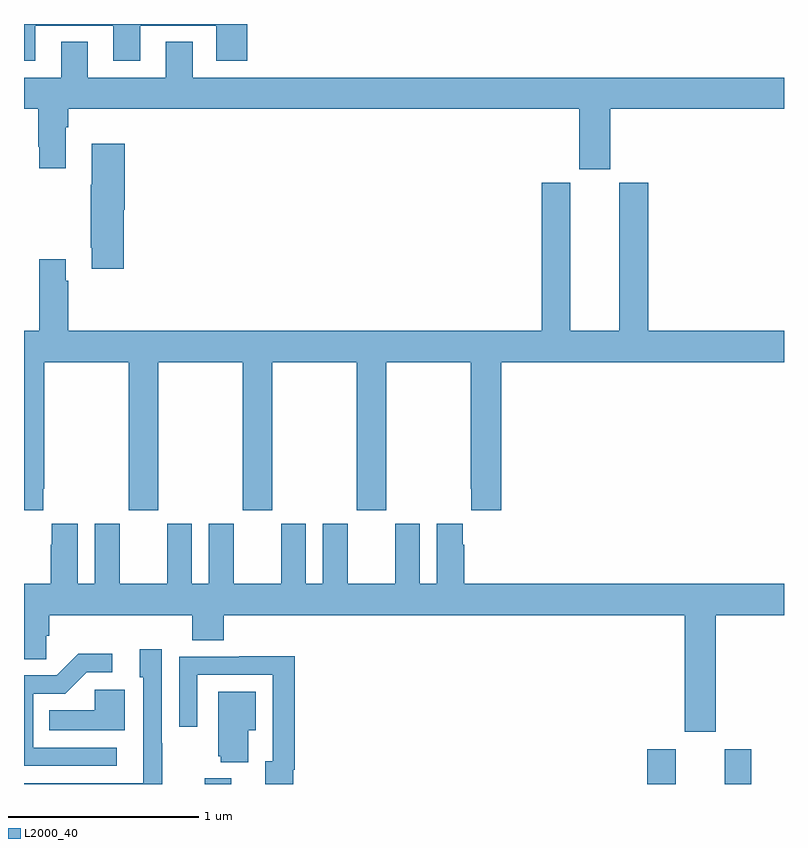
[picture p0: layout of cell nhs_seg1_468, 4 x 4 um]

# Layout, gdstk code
import gdstk
lib = gdstk.Library(unit=1e-6, precision=1e-09)
def R(c, l, rs):  # rectangles x0, y0, x1, y1
    for r in rs: c.add(gdstk.rectangle(r[:2], r[2:], *l))
def P(c, l, *ps):  # polygons
    for p in ps: c.add(gdstk.Polygon(p, *l))
L2000_40 = (2000, 40)

nhs_seg1_468 = lib.new_cell('nhs_seg1_468')
R(nhs_seg1_468, L2000_40, [(137.951,528.199,138.091,528.229), (140.279,528.199,140.431,528.382), (140.687,528.199,140.827,528.382)])
P(nhs_seg1_468, L2000_40, [(137.059,532.191),(137.471,532.191),(137.471,532.005),(137.611,532.005),(137.611,532.191),(138.011,532.191),(138.011,532.005),(138.176,532.005),(138.176,532.199),(137,532.199),(137,532.005),(137.059,532.005)],
  [(140.086,531.752),(141,531.752),(141,531.916),(137.887,531.916),(137.887,532.106),(137.747,532.106),(137.747,531.916),(137.335,531.916),(137.335,532.106),(137.195,532.106),(137.195,531.916),(137,531.916),(137,531.752),(137.074,531.752),(137.074,531.553),(137.081,531.553),(137.081,531.441),(137.221,531.441),(137.221,531.656),(137.234,531.656),(137.234,531.752),(139.922,531.752),(139.922,531.435),(140.086,531.435)],
  [(137.525,531.222),(137.53,531.222),(137.53,531.568),(137.357,531.568),(137.357,531.353),(137.35,531.353),(137.35,531.022),(137.357,531.022),(137.357,530.91),(137.525,530.91)],
  [(137.101,529.753),(137.106,529.753),(137.106,530.42),(137.551,530.42),(137.551,529.641),(137.706,529.641),(137.706,530.42),(138.151,530.42),(138.151,529.641),(138.306,529.641),(138.306,530.42),(138.751,530.42),(138.751,529.641),(138.906,529.641),(138.906,530.42),(139.351,530.42),(139.351,529.753),(139.355,529.753),(139.355,529.641),(139.511,529.641),(139.511,530.42),(141,530.42),(141,530.584),(140.285,530.584),(140.285,531.363),(140.132,531.363),(140.132,530.584),(139.876,530.584),(139.876,531.363),(139.724,531.363),(139.724,530.584),(137.234,530.584),(137.234,530.849),(137.221,530.849),(137.221,530.962),(137.081,530.962),(137.081,530.584),(137,530.584),(137,529.641),(137.101,529.641)],
  [(139.316,529.457),(139.309,529.457),(139.309,529.57),(139.172,529.57),(139.172,529.252),(139.084,529.252),(139.084,529.57),(138.953,529.57),(138.953,529.252),(138.703,529.252),(138.703,529.57),(138.572,529.57),(138.572,529.252),(138.484,529.252),(138.484,529.57),(138.353,529.57),(138.353,529.252),(138.103,529.252),(138.103,529.57),(137.972,529.57),(137.972,529.252),(137.884,529.252),(137.884,529.57),(137.753,529.57),(137.753,529.252),(137.503,529.252),(137.503,529.57),(137.372,529.57),(137.372,529.252),(137.284,529.252),(137.284,529.57),(137.147,529.57),(137.147,529.457),(137.141,529.457),(137.141,529.252),(137,529.252),(137,528.856),(137.118,528.856),(137.118,528.979),(137.132,528.979),(137.132,529.088),(137.885,529.088),(137.885,528.955),(138.05,528.955),(138.05,529.088),(140.477,529.088),(140.477,528.474),(140.641,528.474),(140.641,529.088),(141,529.088),(141,529.252),(139.316,529.252)],
  [(137.727,528.413),(137.724,528.413),(137.724,528.907),(137.609,528.907),(137.609,528.762),(137.628,528.762),(137.628,528.458),(137.627,528.458),(137.627,528.204),(137,528.204),(137,528.199),(137.727,528.199)],
  [(137.488,528.39),(137.049,528.39),(137.049,528.675),(137.218,528.675),(137.329,528.786),(137.464,528.786),(137.464,528.884),(137.285,528.884),(137.172,528.771),(137,528.771),(137,528.294),(137.488,528.294)],
  [(138.418,528.274),(138.425,528.274),(138.425,528.872),(138.133,528.872),(138.133,528.87),(137.817,528.87),(137.817,528.501),(137.913,528.501),(137.913,528.774),(138.309,528.774),(138.309,528.318),(138.269,528.318),(138.269,528.199),(138.418,528.199)],
  [(137.53,528.694),(137.373,528.694),(137.373,528.586),(137.134,528.586),(137.134,528.482),(137.53,528.482)],
  [(138.181,528.482),(138.22,528.482),(138.22,528.685),(138.023,528.685),(138.023,528.345),(138.035,528.345),(138.035,528.314),(138.181,528.314)])

lib.write_gds('nhs_seg1_468.gds')
